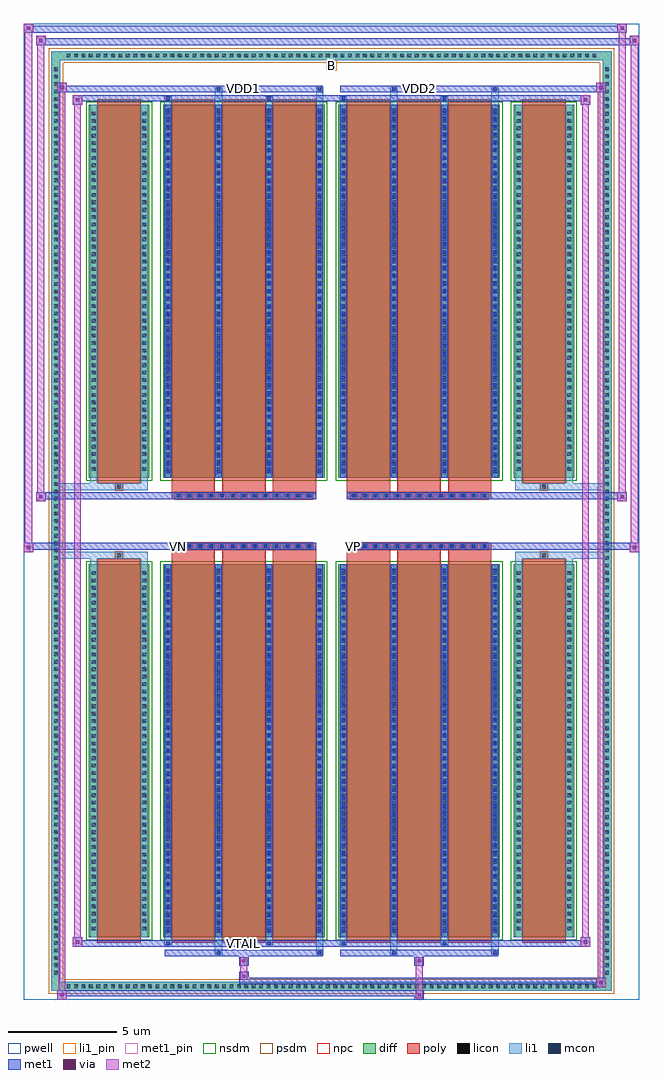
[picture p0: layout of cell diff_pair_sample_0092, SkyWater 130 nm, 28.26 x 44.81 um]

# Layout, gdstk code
import gdstk
lib = gdstk.Library(unit=1e-6, precision=5e-09)
def R(c, l, rs):  # rectangles x0, y0, x1, y1
    for r in rs: c.add(gdstk.rectangle(r[:2], r[2:], *l))
def A(c, l, x, y, w, h, nx, ny, dx, dy):  # array of equal rectangles
    R(c, l, [(x+i*dx, y+j*dy, x+i*dx+w, y+j*dy+h) for i in range(nx) for j in range(ny)])
def P(c, l, *ps):  # polygons
    for p in ps: c.add(gdstk.Polygon(p, *l))
pwell = (64, 44)
diff = (65, 20)
poly = (66, 20)
licon = (66, 44)
li1_pin = (67, 16)
li1 = (67, 20)
mcon = (67, 44)
met1_pin = (68, 16)
met1 = (68, 20)
via = (68, 44)
met2 = (69, 20)
nsdm = (93, 44)
psdm = (94, 20)
npc = (95, 20)

diff_pair_sample_0092 = lib.new_cell('diff_pair_sample_0092')
R(diff_pair_sample_0092, pwell, [(-14.13,-21.97,14.13,22.84), (-11.45,-20.16,-0.01,-0.8), (0.01,-20.16,11.45,-0.8), (-11.45,0.8,-0.01,20.16), (0.01,0.8,11.45,20.16)])
A(diff_pair_sample_0092, diff, -12.275, -21.57, 0.41, 0.41, 72, 2, 0.34, 42.73)
A(diff_pair_sample_0092, diff, -12.86, -20.945, 0.41, 0.41, 1, 123, 0, 0.34)
A(diff_pair_sample_0092, diff, 12.45, -20.945, 0.41, 0.41, 1, 123, 0, 0.34)
R(diff_pair_sample_0092, diff, [(-12.275,-21.57,12.275,-21.16), (-12.86,-20.945,-12.45,20.945), (12.45,-20.945,12.86,20.945), (-11.14,-19.115,-8.37,-1.985), (-7.73,-19.115,-0.32,-1.985), (0.32,-19.115,7.73,-1.985), (8.37,-19.115,11.14,-1.985), (-11.14,1.985,-8.37,19.115), (-7.73,1.985,-0.32,19.115), (0.32,1.985,7.73,19.115), (8.37,1.985,11.14,19.115), (-12.275,21.16,12.275,21.57)])
P(diff_pair_sample_0092, diff, [(12.86,21.57),(-12.86,21.57),(-12.86,-21.16),(-12.45,-21.16),(-12.45,21.16),(12.45,21.16),(12.45,-21.16),(-12.45,-21.16),(-12.86,-21.16),(-12.86,-21.57),(12.86,-21.57)])
A(diff_pair_sample_0092, poly, -7.34, -19.365, 1.99, 17.63, 3, 2, 2.32, 21.1)
A(diff_pair_sample_0092, poly, 0.71, -19.365, 1.99, 17.63, 3, 2, 2.32, 21.1)
A(diff_pair_sample_0092, poly, -7.34, -1.735, 1.99, 0.405, 3, 2, 2.32, 3.065)
A(diff_pair_sample_0092, poly, 0.71, -1.735, 1.99, 0.405, 3, 2, 2.32, 3.065)
A(diff_pair_sample_0092, poly, -7.19, -1.33, 0.33, 0.33, 13, 2, 0.5, 2.33)
A(diff_pair_sample_0092, poly, 0.86, -1.33, 0.33, 0.33, 13, 2, 0.5, 2.33)
R(diff_pair_sample_0092, poly, [(-10.75,-19.365,-8.76,-1.735), (8.76,-19.365,10.75,-1.735), (-9.92,-1.735,-9.59,-1.405), (-9.92,-1.735,-9.59,-1.405), (9.59,-1.735,9.92,-1.405), (9.59,-1.735,9.92,-1.405), (-7.34,-1.33,-0.71,-1), (0.71,-1.33,7.34,-1), (-7.34,1,-0.71,1.33), (0.71,1,7.34,1.33), (-9.92,1.405,-9.59,1.735), (-9.92,1.405,-9.59,1.735), (9.59,1.405,9.92,1.735), (9.59,1.405,9.92,1.735), (-10.75,1.735,-8.76,19.365), (8.76,1.735,10.75,19.365)])
A(diff_pair_sample_0092, licon, -12.155, -21.45, 0.17, 0.17, 72, 2, 0.34, 42.73)
A(diff_pair_sample_0092, licon, -12.74, -20.825, 0.17, 0.17, 1, 123, 0, 0.34)
A(diff_pair_sample_0092, licon, 12.57, -20.825, 0.17, 0.17, 1, 123, 0, 0.34)
A(diff_pair_sample_0092, licon, -11, -18.795, 0.17, 0.17, 1, 49, 0, 0.34)
A(diff_pair_sample_0092, licon, -8.68, -18.795, 0.17, 0.17, 1, 49, 0, 0.34)
A(diff_pair_sample_0092, licon, -7.59, -18.795, 0.17, 0.17, 4, 49, 2.32, 0.34)
A(diff_pair_sample_0092, licon, 0.46, -18.795, 0.17, 0.17, 4, 49, 2.32, 0.34)
A(diff_pair_sample_0092, licon, 8.51, -18.795, 0.17, 0.17, 1, 49, 0, 0.34)
A(diff_pair_sample_0092, licon, 10.83, -18.795, 0.17, 0.17, 1, 49, 0, 0.34)
A(diff_pair_sample_0092, licon, -7.11, -1.25, 0.17, 0.17, 13, 2, 0.5, 2.33)
A(diff_pair_sample_0092, licon, 0.94, -1.25, 0.17, 0.17, 13, 2, 0.5, 2.33)
A(diff_pair_sample_0092, licon, -11, 2.305, 0.17, 0.17, 1, 49, 0, 0.34)
A(diff_pair_sample_0092, licon, -8.68, 2.305, 0.17, 0.17, 1, 49, 0, 0.34)
A(diff_pair_sample_0092, licon, -7.59, 2.305, 0.17, 0.17, 4, 49, 2.32, 0.34)
A(diff_pair_sample_0092, licon, 0.46, 2.305, 0.17, 0.17, 4, 49, 2.32, 0.34)
A(diff_pair_sample_0092, licon, 8.51, 2.305, 0.17, 0.17, 1, 49, 0, 0.34)
A(diff_pair_sample_0092, licon, 10.83, 2.305, 0.17, 0.17, 1, 49, 0, 0.34)
R(diff_pair_sample_0092, licon, [(-9.84,-1.655,-9.67,-1.485), (9.67,-1.655,9.84,-1.485), (-9.84,1.485,-9.67,1.655), (9.67,1.485,9.84,1.655)])
R(diff_pair_sample_0092, li1_pin, [(-0.25,20.66,0.25,21.16)])
A(diff_pair_sample_0092, li1, -12.235, -21.53, 0.33, 0.33, 72, 2, 0.34, 42.73)
A(diff_pair_sample_0092, li1, -12.82, -20.905, 0.33, 0.33, 1, 123, 0, 0.34)
A(diff_pair_sample_0092, li1, 12.49, -20.905, 0.33, 0.33, 1, 123, 0, 0.34)
A(diff_pair_sample_0092, li1, -7.67, -19.115, 0.33, 17.13, 4, 2, 2.32, 21.1)
A(diff_pair_sample_0092, li1, 0.38, -19.115, 0.33, 17.13, 4, 2, 2.32, 21.1)
A(diff_pair_sample_0092, li1, -7.59, -18.915, 0.17, 0.17, 4, 47, 2.32, 0.36)
A(diff_pair_sample_0092, li1, -7.59, -18.915, 0.17, 16.73, 4, 2, 2.32, 21.1)
A(diff_pair_sample_0092, li1, 0.46, -18.915, 0.17, 0.17, 4, 47, 2.32, 0.36)
A(diff_pair_sample_0092, li1, 0.46, -18.915, 0.17, 16.73, 4, 2, 2.32, 21.1)
A(diff_pair_sample_0092, li1, -11.08, -18.875, 0.33, 0.33, 1, 49, 0, 0.34)
A(diff_pair_sample_0092, li1, -8.76, -18.875, 0.33, 0.33, 1, 49, 0, 0.34)
A(diff_pair_sample_0092, li1, -7.67, -18.875, 0.33, 0.33, 4, 49, 2.32, 0.34)
A(diff_pair_sample_0092, li1, 0.38, -18.875, 0.33, 0.33, 4, 49, 2.32, 0.34)
A(diff_pair_sample_0092, li1, 8.43, -18.875, 0.33, 0.33, 1, 49, 0, 0.34)
A(diff_pair_sample_0092, li1, 10.75, -18.875, 0.33, 0.33, 1, 49, 0, 0.34)
A(diff_pair_sample_0092, li1, -7.19, -1.33, 0.33, 0.33, 13, 2, 0.5, 2.33)
A(diff_pair_sample_0092, li1, 0.86, -1.33, 0.33, 0.33, 13, 2, 0.5, 2.33)
A(diff_pair_sample_0092, li1, -7.59, 2.185, 0.17, 0.17, 4, 47, 2.32, 0.36)
A(diff_pair_sample_0092, li1, 0.46, 2.185, 0.17, 0.17, 4, 47, 2.32, 0.36)
A(diff_pair_sample_0092, li1, -11.08, 2.225, 0.33, 0.33, 1, 49, 0, 0.34)
A(diff_pair_sample_0092, li1, -8.76, 2.225, 0.33, 0.33, 1, 49, 0, 0.34)
A(diff_pair_sample_0092, li1, -7.67, 2.225, 0.33, 0.33, 4, 49, 2.32, 0.34)
A(diff_pair_sample_0092, li1, 0.38, 2.225, 0.33, 0.33, 4, 49, 2.32, 0.34)
A(diff_pair_sample_0092, li1, 8.43, 2.225, 0.33, 0.33, 1, 49, 0, 0.34)
A(diff_pair_sample_0092, li1, 10.75, 2.225, 0.33, 0.33, 1, 49, 0, 0.34)
R(diff_pair_sample_0092, li1, [(-12.86,-21.57,-12.45,-21.16), (-12.86,-21.57,-12.45,-21.16), (-12.45,-21.57,12.45,-21.16), (12.45,-21.57,12.86,-21.16), (12.45,-21.57,12.86,-21.16), (-12.86,-21.16,-12.45,21.16), (12.45,-21.16,12.86,21.16), (-5.35,-19.92,-5.02,-19.115), (-5.27,-19.92,-5.1,-19.75), (-0.71,-19.92,-0.38,-19.115), (-0.63,-19.92,-0.46,-19.75), (2.7,-19.92,3.03,-19.115), (2.78,-19.92,2.95,-19.75), (7.34,-19.92,7.67,-19.115), (7.42,-19.92,7.59,-19.75), (-7.67,-19.49,-7.34,-19.115), (-7.59,-19.49,-7.42,-19.32), (-3.03,-19.49,-2.7,-19.115), (-2.95,-19.49,-2.78,-19.32), (0.38,-19.49,0.71,-19.115), (0.46,-19.49,0.63,-19.32), (5.02,-19.49,5.35,-19.115), (5.1,-19.49,5.27,-19.32), (-11.08,-19.115,-10.75,-1.985), (-8.76,-19.115,-8.43,-1.985), (8.43,-19.115,8.76,-1.985), (10.75,-19.115,11.08,-1.985), (-11.08,-1.985,-10.75,-1.405), (-8.76,-1.985,-8.43,-1.405), (8.43,-1.985,8.76,-1.405), (10.75,-1.985,11.08,-1.405), (-12.86,-1.735,-9.92,-1.405), (-11.08,-1.735,-9.92,-1.405), (-9.92,-1.735,-9.59,-1.405), (-9.59,-1.735,-8.43,-1.405), (8.43,-1.735,9.59,-1.405), (9.59,-1.735,9.92,-1.405), (9.59,-1.735,12.86,-1.405), (9.92,-1.735,11.08,-1.405), (-12.86,1.405,-9.92,1.735), (-11.08,1.405,-9.92,1.735), (-11.08,1.405,-10.75,1.985), (-9.92,1.405,-9.59,1.735), (-9.59,1.405,-8.43,1.735), (-8.76,1.405,-8.43,1.985), (8.43,1.405,9.59,1.735), (8.43,1.405,8.76,1.985), (9.59,1.405,9.92,1.735), (9.59,1.405,12.86,1.735), (9.92,1.405,11.08,1.735), (10.75,1.405,11.08,1.985), (-11.08,1.985,-10.75,19.115), (-8.76,1.985,-8.43,19.115), (8.43,1.985,8.76,19.115), (10.75,1.985,11.08,19.115), (-7.67,19.115,-7.34,19.49), (-5.35,19.115,-5.02,19.92), (-3.03,19.115,-2.7,19.49), (-0.71,19.115,-0.38,19.92), (0.38,19.115,0.71,19.49), (2.7,19.115,3.03,19.92), (5.02,19.115,5.35,19.49), (7.34,19.115,7.67,19.92), (-7.59,19.32,-7.42,19.49), (-2.95,19.32,-2.78,19.49), (0.46,19.32,0.63,19.49), (5.1,19.32,5.27,19.49), (-5.27,19.75,-5.1,19.92), (-0.63,19.75,-0.46,19.92), (2.78,19.75,2.95,19.92), (7.42,19.75,7.59,19.92), (-12.86,21.16,-12.45,21.57), (-12.86,21.16,-12.45,21.57), (-12.45,21.16,12.45,21.57), (12.45,21.16,12.86,21.57), (12.45,21.16,12.86,21.57)])
A(diff_pair_sample_0092, mcon, -7.59, -18.915, 0.17, 0.17, 4, 47, 2.32, 0.36)
A(diff_pair_sample_0092, mcon, 0.46, -18.915, 0.17, 0.17, 4, 47, 2.32, 0.36)
A(diff_pair_sample_0092, mcon, -7.11, -1.25, 0.17, 0.17, 13, 2, 0.5, 2.33)
A(diff_pair_sample_0092, mcon, 0.94, -1.25, 0.17, 0.17, 13, 2, 0.5, 2.33)
A(diff_pair_sample_0092, mcon, -7.59, 2.185, 0.17, 0.17, 4, 47, 2.32, 0.36)
A(diff_pair_sample_0092, mcon, 0.46, 2.185, 0.17, 0.17, 4, 47, 2.32, 0.36)
R(diff_pair_sample_0092, mcon, [(-5.27,-19.92,-5.1,-19.75), (-0.63,-19.92,-0.46,-19.75), (2.78,-19.92,2.95,-19.75), (7.42,-19.92,7.59,-19.75), (-7.59,-19.49,-7.42,-19.32), (-2.95,-19.49,-2.78,-19.32), (0.46,-19.49,0.63,-19.32), (5.1,-19.49,5.27,-19.32), (-7.59,19.32,-7.42,19.49), (-2.95,19.32,-2.78,19.49), (0.46,19.32,0.63,19.49), (5.1,19.32,5.27,19.49), (-5.27,19.75,-5.1,19.92), (-0.63,19.75,-0.46,19.92), (2.78,19.75,2.95,19.92), (7.42,19.75,7.59,19.92)])
R(diff_pair_sample_0092, met1_pin, [(-4.16,-19.53,-3.89,-19.26), (-7.16,-1.29,-6.89,-1.02), (0.89,-1.29,1.16,-1.02), (-4.16,19.71,-3.89,19.98), (3.89,19.71,4.16,19.98)])
A(diff_pair_sample_0092, met1, -7.65, -19.115, 0.29, 17.13, 4, 2, 2.32, 21.1)
A(diff_pair_sample_0092, met1, 0.4, -19.115, 0.29, 17.13, 4, 2, 2.32, 21.1)
A(diff_pair_sample_0092, met1, -7.65, -18.975, 0.29, 0.29, 4, 47, 2.32, 0.36)
A(diff_pair_sample_0092, met1, 0.4, -18.975, 0.29, 0.29, 4, 47, 2.32, 0.36)
A(diff_pair_sample_0092, met1, -7.17, -1.31, 0.29, 0.29, 13, 2, 0.5, 2.33)
A(diff_pair_sample_0092, met1, 0.88, -1.31, 0.29, 0.29, 13, 2, 0.5, 2.33)
A(diff_pair_sample_0092, met1, -7.65, 2.125, 0.29, 0.29, 4, 47, 2.32, 0.36)
A(diff_pair_sample_0092, met1, 0.4, 2.125, 0.29, 0.29, 4, 47, 2.32, 0.36)
R(diff_pair_sample_0092, met1, [(-12.59,-21.97,-12.16,-21.54), (3.81,-21.97,4.24,-21.54), (-12.59,-21.83,4.24,-21.54), (12.16,-21.4,12.59,-20.97), (-4.24,-21.26,12.59,-20.97), (-4.24,-21.12,-3.81,-20.69), (-4.24,-20.41,-3.81,-19.98), (3.81,-20.41,4.24,-19.98), (-7.65,-19.98,-0.4,-19.69), (-5.33,-19.98,-5.04,-19.69), (-0.69,-19.98,-0.4,-19.69), (0.4,-19.98,7.65,-19.69), (2.72,-19.98,3.01,-19.69), (7.36,-19.98,7.65,-19.69), (-11.88,-19.55,-11.45,-19.12), (-11.88,-19.55,-7.65,-19.26), (-7.65,-19.55,-7.36,-19.26), (-7.65,-19.55,-0.4,-19.26), (-3.01,-19.55,-2.72,-19.26), (-0.4,-19.55,0.4,-19.26), (0.4,-19.55,0.69,-19.26), (0.4,-19.55,7.65,-19.26), (5.04,-19.55,5.33,-19.26), (7.65,-19.55,11.88,-19.26), (11.45,-19.55,11.88,-19.12), (-14.13,-1.43,-13.7,-1), (13.7,-1.43,14.13,-1), (-14.13,-1.33,-0.71,-1), (-7.34,-1.33,-0.71,-1), (0.71,-1.33,7.34,-1), (0.71,-1.33,14.13,-1), (-13.56,0.9,-13.13,1.33), (13.13,0.9,13.56,1.33), (-13.56,1,-7.34,1.33), (-7.34,1,-0.71,1.33), (0.71,1,7.34,1.33), (7.34,1,13.56,1.33), (-11.88,19.12,-11.45,19.55), (11.45,19.12,11.88,19.55), (-11.88,19.26,-7.65,19.55), (-7.65,19.26,-7.36,19.55), (-7.65,19.26,-0.4,19.55), (-3.01,19.26,-2.72,19.55), (-0.4,19.26,0.4,19.55), (0.4,19.26,0.69,19.55), (0.4,19.26,7.65,19.55), (5.04,19.26,5.33,19.55), (7.65,19.26,11.88,19.55), (-12.59,19.69,-12.16,20.12), (-12.59,19.69,-7.65,19.98), (-7.65,19.69,-0.4,19.98), (-5.33,19.69,-5.04,19.98), (-0.69,19.69,-0.4,19.98), (0.4,19.69,7.65,19.98), (2.72,19.69,3.01,19.98), (7.36,19.69,7.65,19.98), (7.65,19.69,12.59,19.98), (12.16,19.69,12.59,20.12), (-13.56,21.84,-13.13,22.27), (-13.56,21.84,-11.45,22.17), (-11.45,21.84,11.45,22.17), (11.45,21.84,14.13,22.17), (13.7,21.84,14.13,22.27), (-14.13,22.41,-13.7,22.84), (-14.13,22.41,-11.45,22.74), (-11.45,22.41,11.45,22.74), (11.45,22.41,13.56,22.74), (13.13,22.41,13.56,22.84)])
R(diff_pair_sample_0092, via, [(-12.45,-21.83,-12.3,-21.68), (3.95,-21.83,4.1,-21.68), (12.3,-21.26,12.45,-21.11), (-4.1,-20.98,-3.95,-20.83), (-4.1,-20.27,-3.95,-20.12), (3.95,-20.27,4.1,-20.12), (-11.74,-19.41,-11.59,-19.26), (11.59,-19.41,11.74,-19.26), (-13.99,-1.29,-13.84,-1.14), (13.84,-1.29,13.99,-1.14), (-13.42,1.04,-13.27,1.19), (13.27,1.04,13.42,1.19), (-11.74,19.26,-11.59,19.41), (11.59,19.26,11.74,19.41), (-12.45,19.83,-12.3,19.98), (12.3,19.83,12.45,19.98), (-13.42,21.98,-13.27,22.13), (13.84,21.98,13.99,22.13), (-13.99,22.55,-13.84,22.7), (13.27,22.55,13.42,22.7)])
R(diff_pair_sample_0092, met2, [(-12.59,-21.97,-12.16,-21.54), (-12.52,-21.97,-12.23,20.12), (-12.23,-21.97,-12.16,-21.54), (-12.54,-21.92,-12.21,-21.59), (3.86,-21.92,4.19,-21.59), (3.86,-21.59,4.19,-20.36), (12.16,-21.4,12.59,-20.97), (12.23,-21.4,12.52,20.12), (12.52,-21.4,12.59,-20.97), (12.21,-21.35,12.54,-21.02), (-4.19,-21.07,-3.86,-20.74), (-4.19,-20.74,-3.86,-20.36), (-4.19,-20.36,-3.86,-20.03), (3.86,-20.36,4.19,-20.03), (-11.88,-19.55,-11.45,-19.12), (-11.81,-19.55,-11.52,19.55), (-11.52,-19.55,-11.45,-19.12), (11.45,-19.55,11.88,-19.12), (11.52,-19.55,11.81,19.55), (11.81,-19.55,11.88,-19.12), (-11.83,-19.5,-11.5,-19.17), (11.5,-19.5,11.83,-19.17), (-14.13,-1.43,-13.7,-1), (-14.08,-1.43,-13.75,22.84), (-13.75,-1.43,-13.7,-1), (13.7,-1.43,14.13,-1), (13.75,-1.43,14.08,22.27), (14.08,-1.43,14.13,-1), (-14.08,-1.38,-13.75,-1.05), (13.75,-1.38,14.08,-1.05), (-13.56,0.9,-13.13,1.33), (-13.51,0.9,-13.18,22.27), (-13.18,0.9,-13.13,1.33), (13.13,0.9,13.56,1.33), (13.18,0.9,13.51,22.84), (13.51,0.9,13.56,1.33), (-13.51,0.95,-13.18,1.28), (13.18,0.95,13.51,1.28), (-11.88,19.12,-11.45,19.55), (-11.52,19.12,-11.45,19.55), (11.45,19.12,11.88,19.55), (11.81,19.12,11.88,19.55), (-11.83,19.17,-11.5,19.5), (11.5,19.17,11.83,19.5), (-12.59,19.69,-12.16,20.12), (-12.23,19.69,-12.16,20.12), (12.16,19.69,12.59,20.12), (12.52,19.69,12.59,20.12), (-12.54,19.74,-12.21,20.07), (12.21,19.74,12.54,20.07), (-13.56,21.84,-13.13,22.27), (-13.18,21.84,-13.13,22.27), (13.7,21.84,14.13,22.27), (14.08,21.84,14.13,22.27), (-13.51,21.89,-13.18,22.22), (13.75,21.89,14.08,22.22), (-14.13,22.41,-13.7,22.84), (-13.75,22.41,-13.7,22.84), (13.13,22.41,13.56,22.84), (13.51,22.41,13.56,22.84), (-14.08,22.46,-13.75,22.79), (13.18,22.46,13.51,22.79)])
R(diff_pair_sample_0092, nsdm, [(-11.27,-19.245,-8.24,-1.855), (-7.86,-19.245,-0.19,-1.855), (0.19,-19.245,7.86,-1.855), (8.24,-19.245,11.27,-1.855), (-11.27,1.855,-8.24,19.245), (-7.86,1.855,-0.19,19.245), (0.19,1.855,7.86,19.245), (8.24,1.855,11.27,19.245)])
P(diff_pair_sample_0092, psdm, [(12.99,21.7),(-12.99,21.7),(-12.99,-21.03),(-12.32,-21.03),(-12.32,21.03),(12.32,21.03),(12.32,-21.03),(-12.32,-21.03),(-12.99,-21.03),(-12.99,-21.7),(12.99,-21.7)])
A(diff_pair_sample_0092, npc, -7.21, -1.35, 0.37, 0.37, 13, 2, 0.5, 2.33)
A(diff_pair_sample_0092, npc, 0.84, -1.35, 0.37, 0.37, 13, 2, 0.5, 2.33)
R(diff_pair_sample_0092, npc, [(-9.94,-1.755,-9.57,-1.385), (9.57,-1.755,9.94,-1.385), (-7.21,-1.35,-6.34,-0.98), (-7.21,-1.35,-6.34,-0.98), (-6.71,-1.35,-5.84,-0.98), (-6.71,-1.35,-5.84,-0.98), (-6.21,-1.35,-5.34,-0.98), (-6.21,-1.35,-5.34,-0.98), (-5.71,-1.35,-4.84,-0.98), (-5.71,-1.35,-4.84,-0.98), (-5.21,-1.35,-4.34,-0.98), (-5.21,-1.35,-4.34,-0.98), (-4.71,-1.35,-3.84,-0.98), (-4.71,-1.35,-3.84,-0.98), (-4.21,-1.35,-3.34,-0.98), (-4.21,-1.35,-3.34,-0.98), (-3.71,-1.35,-2.84,-0.98), (-3.71,-1.35,-2.84,-0.98), (-3.21,-1.35,-2.34,-0.98), (-3.21,-1.35,-2.34,-0.98), (-2.71,-1.35,-1.84,-0.98), (-2.71,-1.35,-1.84,-0.98), (-2.21,-1.35,-1.34,-0.98), (-2.21,-1.35,-1.34,-0.98), (-1.71,-1.35,-0.84,-0.98), (-1.71,-1.35,-0.84,-0.98), (0.84,-1.35,1.71,-0.98), (0.84,-1.35,1.71,-0.98), (1.34,-1.35,2.21,-0.98), (1.34,-1.35,2.21,-0.98), (1.84,-1.35,2.71,-0.98), (1.84,-1.35,2.71,-0.98), (2.34,-1.35,3.21,-0.98), (2.34,-1.35,3.21,-0.98), (2.84,-1.35,3.71,-0.98), (2.84,-1.35,3.71,-0.98), (3.34,-1.35,4.21,-0.98), (3.34,-1.35,4.21,-0.98), (3.84,-1.35,4.71,-0.98), (3.84,-1.35,4.71,-0.98), (4.34,-1.35,5.21,-0.98), (4.34,-1.35,5.21,-0.98), (4.84,-1.35,5.71,-0.98), (4.84,-1.35,5.71,-0.98), (5.34,-1.35,6.21,-0.98), (5.34,-1.35,6.21,-0.98), (5.84,-1.35,6.71,-0.98), (5.84,-1.35,6.71,-0.98), (6.34,-1.35,7.21,-0.98), (6.34,-1.35,7.21,-0.98), (-7.21,0.98,-6.34,1.35), (-7.21,0.98,-6.34,1.35), (-6.71,0.98,-5.84,1.35), (-6.71,0.98,-5.84,1.35), (-6.21,0.98,-5.34,1.35), (-6.21,0.98,-5.34,1.35), (-5.71,0.98,-4.84,1.35), (-5.71,0.98,-4.84,1.35), (-5.21,0.98,-4.34,1.35), (-5.21,0.98,-4.34,1.35), (-4.71,0.98,-3.84,1.35), (-4.71,0.98,-3.84,1.35), (-4.21,0.98,-3.34,1.35), (-4.21,0.98,-3.34,1.35), (-3.71,0.98,-2.84,1.35), (-3.71,0.98,-2.84,1.35), (-3.21,0.98,-2.34,1.35), (-3.21,0.98,-2.34,1.35), (-2.71,0.98,-1.84,1.35), (-2.71,0.98,-1.84,1.35), (-2.21,0.98,-1.34,1.35), (-2.21,0.98,-1.34,1.35), (-1.71,0.98,-0.84,1.35), (-1.71,0.98,-0.84,1.35), (0.84,0.98,1.71,1.35), (0.84,0.98,1.71,1.35), (1.34,0.98,2.21,1.35), (1.34,0.98,2.21,1.35), (1.84,0.98,2.71,1.35), (1.84,0.98,2.71,1.35), (2.34,0.98,3.21,1.35), (2.34,0.98,3.21,1.35), (2.84,0.98,3.71,1.35), (2.84,0.98,3.71,1.35), (3.34,0.98,4.21,1.35), (3.34,0.98,4.21,1.35), (3.84,0.98,4.71,1.35), (3.84,0.98,4.71,1.35), (4.34,0.98,5.21,1.35), (4.34,0.98,5.21,1.35), (4.84,0.98,5.71,1.35), (4.84,0.98,5.71,1.35), (5.34,0.98,6.21,1.35), (5.34,0.98,6.21,1.35), (5.84,0.98,6.71,1.35), (5.84,0.98,6.71,1.35), (6.34,0.98,7.21,1.35), (6.34,0.98,7.21,1.35), (-9.94,1.385,-9.57,1.755), (9.57,1.385,9.94,1.755)])
diff_pair_sample_0092.add(gdstk.Label('VTAIL', (-4.025,-19.395), layer=68, texttype=5))
diff_pair_sample_0092.add(gdstk.Label('VN', (-7.025,-1.155), layer=68, texttype=5))
diff_pair_sample_0092.add(gdstk.Label('VP', (1.025,-1.155), layer=68, texttype=5))
diff_pair_sample_0092.add(gdstk.Label('B', (0,20.91), layer=67, texttype=5))
diff_pair_sample_0092.add(gdstk.Label('VDD2', (4.025,19.845), layer=68, texttype=5))
diff_pair_sample_0092.add(gdstk.Label('VDD1', (-4.025,19.845), layer=68, texttype=5))

lib.write_gds('diff_pair_sample_0092.gds')
